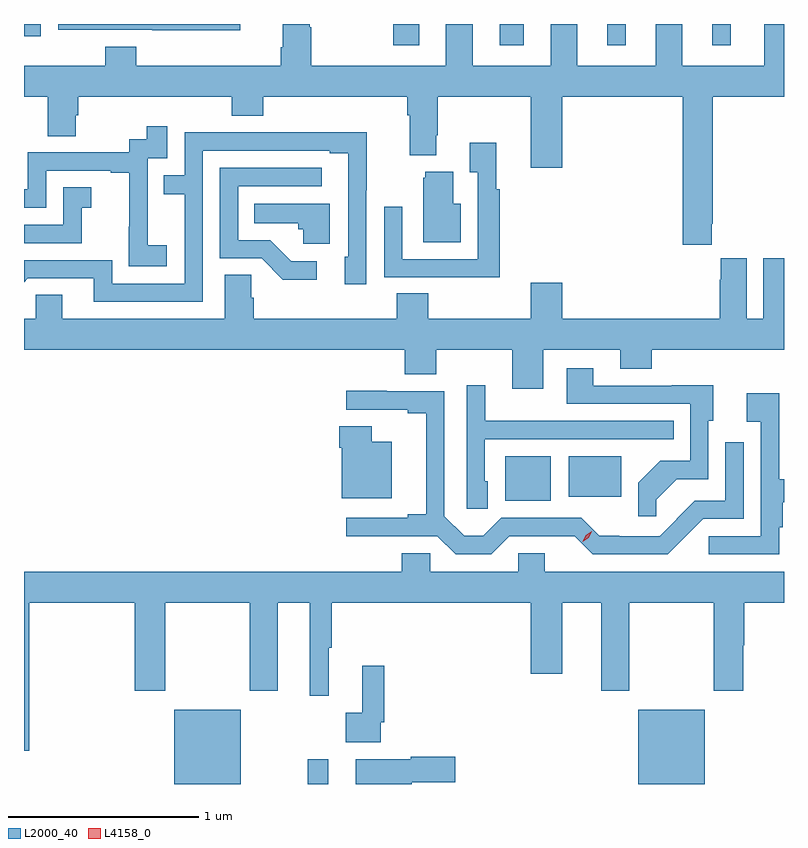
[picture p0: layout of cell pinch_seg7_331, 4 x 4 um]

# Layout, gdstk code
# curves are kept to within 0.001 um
import gdstk
lib = gdstk.Library(unit=1e-6, precision=1e-09)
def R(c, l, rs):  # rectangles x0, y0, x1, y1
    for r in rs: c.add(gdstk.rectangle(r[:2], r[2:], *l))
def P(c, l, *ps):  # polygons
    for p in ps: c.add(gdstk.Polygon(p, *l))
L2000_40 = (2000, 40)
L4158_0 = (4158, 0)

pinch_seg7_331 = lib.new_cell('pinch_seg7_331')
R(pinch_seg7_331, L2000_40, [(486.806,1048.947,487.156,1049.338), (487.509,1048.947,487.618,1049.077), (489.248,1048.947,489.598,1049.338), (488.549,1050.437,488.788,1050.673), (488.882,1050.458,489.16,1050.673), (487.96,1052.835,488.095,1052.947), (488.519,1052.835,488.647,1052.947), (489.086,1052.835,489.184,1052.947), (489.638,1052.835,489.736,1052.947), (486.016,1052.883,486.105,1052.947)])
P(pinch_seg7_331, L2000_40, [(489.637,1051.897),(489.642,1051.897),(489.642,1052.564),(490.016,1052.564),(490.016,1052.947),(489.911,1052.947),(489.911,1052.728),(489.481,1052.728),(489.481,1052.947),(489.341,1052.947),(489.341,1052.728),(488.929,1052.728),(488.929,1052.947),(488.789,1052.947),(488.789,1052.728),(488.377,1052.728),(488.377,1052.947),(488.237,1052.947),(488.237,1052.728),(487.527,1052.728),(487.527,1052.93),(487.519,1052.93),(487.519,1052.947),(487.379,1052.947),(487.379,1052.824),(487.367,1052.824),(487.367,1052.728),(486.608,1052.728),(486.608,1052.827),(486.443,1052.827),(486.443,1052.728),(486.016,1052.728),(486.016,1052.564),(486.142,1052.564),(486.142,1052.356),(486.289,1052.356),(486.289,1052.466),(486.302,1052.466),(486.302,1052.564),(487.109,1052.564),(487.109,1052.465),(487.274,1052.465),(487.274,1052.564),(488.033,1052.564),(488.033,1052.468),(488.045,1052.468),(488.045,1052.255),(488.185,1052.255),(488.185,1052.362),(488.193,1052.362),(488.193,1052.564),(488.684,1052.564),(488.684,1052.19),(488.848,1052.19),(488.848,1052.564),(489.482,1052.564),(489.482,1051.785),(489.637,1051.785)],
  [(487.155,1052.947),(486.195,1052.947),(486.195,1052.916),(486.691,1052.916),(486.691,1052.915),(487.155,1052.915)],
  [(486.766,1051.783),(486.668,1051.783),(486.668,1052.012),(486.666,1052.012),(486.666,1052.241),(486.771,1052.241),(486.771,1052.41),(486.663,1052.41),(486.663,1052.34),(486.57,1052.34),(486.57,1052.271),(486.036,1052.271),(486.036,1052.076),(486.016,1052.076),(486.016,1051.98),(486.132,1051.98),(486.132,1052.175),(486.473,1052.175),(486.473,1052.163),(486.569,1052.163),(486.569,1051.879),(486.568,1051.879),(486.568,1051.673),(486.766,1051.673)],
  [(486.957,1052.28),(487.625,1052.28),(487.625,1052.268),(487.722,1052.268),(487.722,1051.722),(487.703,1051.722),(487.703,1051.578),(487.818,1051.578),(487.818,1052.071),(487.821,1052.071),(487.821,1052.378),(487.357,1052.378),(487.357,1052.376),(486.861,1052.376),(486.861,1052.151),(486.751,1052.151),(486.751,1052.05),(486.861,1052.05),(486.861,1051.581),(486.48,1051.581),(486.48,1051.704),(486.016,1051.704),(486.016,1051.588),(486.036,1051.608),(486.383,1051.608),(486.383,1051.485),(486.957,1051.485)],
  [(488.519,1052.078),(488.501,1052.078),(488.501,1052.323),(488.363,1052.323),(488.363,1052.167),(488.403,1052.167),(488.403,1051.71),(488.007,1051.71),(488.007,1051.984),(487.911,1051.984),(487.911,1051.614),(488.227,1051.614),(488.227,1051.613),(488.519,1051.613)],
  [(487.558,1051.698),(487.423,1051.698),(487.312,1051.809),(487.143,1051.809),(487.143,1052.094),(487.582,1052.094),(487.582,1052.19),(487.047,1052.19),(487.047,1051.713),(487.266,1051.713),(487.379,1051.601),(487.558,1051.601)],
  [(488.314,1052.002),(488.275,1052.002),(488.275,1052.17),(488.129,1052.17),(488.129,1052.139),(488.117,1052.139),(488.117,1051.799),(488.314,1051.799)],
  [(486.321,1051.979),(486.37,1051.979),(486.37,1052.089),(486.222,1052.089),(486.222,1051.89),(486.016,1051.89),(486.016,1051.794),(486.321,1051.794)],
  [(487.624,1052.002),(487.228,1052.002),(487.228,1051.898),(487.459,1051.898),(487.459,1051.866),(487.485,1051.866),(487.485,1051.79),(487.624,1051.79)],
  [(488.144,1051.529),(487.979,1051.529),(487.979,1051.396),(487.226,1051.396),(487.226,1051.505),(487.212,1051.505),(487.212,1051.628),(487.073,1051.628),(487.073,1051.396),(486.217,1051.396),(486.217,1051.523),(486.078,1051.523),(486.078,1051.396),(486.016,1051.396),(486.016,1051.232),(488.021,1051.232),(488.021,1051.104),(488.185,1051.104),(488.185,1051.232),(488.585,1051.232),(488.585,1051.026),(488.749,1051.026),(488.749,1051.232),(489.155,1051.232),(489.155,1051.133),(489.319,1051.133),(489.319,1051.232),(490.016,1051.232),(490.016,1051.714),(489.908,1051.714),(489.908,1051.396),(489.82,1051.396),(489.82,1051.714),(489.683,1051.714),(489.683,1051.601),(489.677,1051.601),(489.677,1051.396),(488.848,1051.396),(488.848,1051.585),(488.684,1051.585),(488.684,1051.396),(488.144,1051.396)],
  [(489.344,1050.444),(489.452,1050.552),(489.618,1050.552),(489.618,1050.858),(489.643,1050.858),(489.643,1051.046),(489.425,1051.046),(489.425,1051.044),(489.013,1051.044),(489.013,1051.135),(488.873,1051.135),(488.873,1050.948),(489.522,1050.948),(489.522,1050.648),(489.365,1050.648),(489.249,1050.532),(489.249,1050.357),(489.344,1050.357)],
  [(488.458,1050.54),(488.442,1050.54),(488.442,1050.762),(489.437,1050.762),(489.437,1050.858),(488.777,1050.858),(488.777,1050.859),(488.443,1050.859),(488.443,1051.045),(488.346,1051.045),(488.346,1050.397),(488.458,1050.397)],
  [(488.571,1050.252),(488.915,1050.251),(489.009,1050.156),(489.403,1050.156),(489.591,1050.342),(489.804,1050.342),(489.804,1050.745),(489.708,1050.745),(489.708,1050.438),(489.545,1050.438),(489.451,1050.344),(489.453,1050.342),(489.363,1050.252),(489.148,1050.252),(489.148,1050.254),(489.044,1050.254),(488.949,1050.348),(488.529,1050.348),(488.434,1050.253),(488.333,1050.253),(488.229,1050.357),(488.229,1051.014),(487.925,1051.014),(487.925,1051.016),(487.713,1051.016),(487.713,1050.918),(488.036,1050.918),(488.036,1050.898),(488.132,1050.898),(488.132,1050.368),(488.036,1050.368),(488.036,1050.348),(487.713,1050.348),(487.713,1050.251),(488.192,1050.252),(488.288,1050.156),(488.475,1050.156)],
  [(489.992,1050.299),(490.01,1050.299),(490.01,1050.43),(490.016,1050.43),(490.016,1050.551),(489.991,1050.551),(489.991,1051.003),(489.819,1051.003),(489.819,1050.854),(489.894,1050.854),(489.894,1050.252),(489.621,1050.252),(489.621,1050.156),(489.992,1050.156)],
  [(487.951,1050.748),(487.846,1050.748),(487.846,1050.829),(487.676,1050.829),(487.676,1050.716),(487.688,1050.716),(487.688,1050.452),(487.951,1050.452)],
  [(488.758,1050.162),(488.616,1050.162),(488.616,1050.064),(488.154,1050.064),(488.154,1050.162),(488.003,1050.162),(488.003,1050.064),(486.016,1050.064),(486.016,1049.121),(486.044,1049.121),(486.044,1049.9),(486.599,1049.9),(486.599,1049.439),(486.759,1049.439),(486.759,1049.9),(487.204,1049.9),(487.204,1049.439),(487.351,1049.439),(487.351,1049.9),(487.52,1049.9),(487.52,1049.412),(487.619,1049.412),(487.619,1049.664),(487.637,1049.664),(487.637,1049.9),(488.684,1049.9),(488.684,1049.526),(488.848,1049.526),(488.848,1049.9),(489.053,1049.9),(489.053,1049.439),(489.201,1049.439),(489.201,1049.9),(489.646,1049.9),(489.646,1049.439),(489.801,1049.439),(489.801,1049.678),(489.806,1049.678),(489.806,1049.9),(490.016,1049.9),(490.016,1050.064),(488.758,1050.064)],
  [(487.893,1049.272),(487.913,1049.272),(487.913,1049.569),(487.796,1049.569),(487.796,1049.321),(487.71,1049.321),(487.71,1049.168),(487.893,1049.168)],
  [(488.056,1048.955),(488.287,1048.955),(488.287,1049.09),(488.052,1049.09),(488.052,1049.077),(487.763,1049.077),(487.763,1048.947),(488.056,1048.947)])
P(pinch_seg7_331, L4158_0, [(488.957,1050.222),(488.957,1050.222),(488.973,1050.256),(489.004,1050.277),(489.004,1050.277),(489.004,1050.277),(488.988,1050.243),(488.958,1050.222)])

lib.write_gds('pinch_seg7_331.gds')
